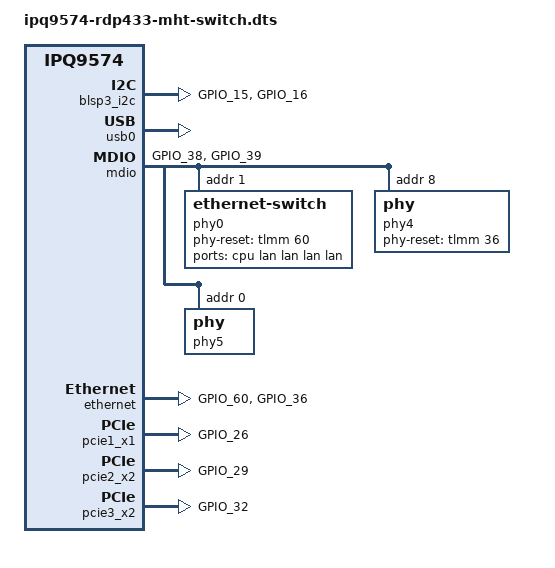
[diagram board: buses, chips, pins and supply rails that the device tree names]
// SPDX-License-Identifier: GPL-2.0-only
/*
* Copyright (c) 2023, Qualcomm Innovation Center, Inc. All rights reserved.
*/

/dts-v1/;

#include "ipq9574-default.dts"

/ {
	config_name = "config-al02-c10", "config@al02-c10", "config@rdp433-mht-switch", "config-rdp433-mht-switch";

	soc: soc {
		tlmm: pinctrl@1000000 {

			mdio_pinmux: mdio {
				mdc {
					pins = "GPIO_38";
					function = "mdc";
					drive-strength = <DRIVE_STRENGTH_8MA>;
					bias-disable;
				};

				mdio {
					pins = "GPIO_39";
					function = "mdio";
					drive-strength = <DRIVE_STRENGTH_8MA>;
					bias-pull-up;
				};
			};

			phy_rst_pinmux: phy_rst {
				qti_8x8x_rst {
					pins = "GPIO_60";
					drive-strength = <DRIVE_STRENGTH_8MA>;
					bias-pull-up;
				};

				qti_aquantia_rst {
					pins = "GPIO_36";
					drive-strength = <DRIVE_STRENGTH_8MA>;
					bias-pull-up;
				};
			};

			blsp3_i2c_pinmux: blsp3_i2c_pins {
				blsp3_scl {
					pins = "GPIO_15";
					function = "blsp3_i2c_scl";
					drive-strength = <DRIVE_STRENGTH_8MA>;
					bias-pull-up;
				};

				blsp3_sda {
					pins = "GPIO_16";
					function = "blsp3_i2c_sda";
					drive-strength = <DRIVE_STRENGTH_8MA>;
					bias-pull-up;
				};
			};

			pcie1_x1_pinmux: pci_pins {
				pci_rst {
					pins = "GPIO_26";
					drive-strength = <DRIVE_STRENGTH_8MA>;
					bias-pull-up;
				};
			};

			pcie2_x2_pinmux: pci_pins {
				pci_rst {
					pins = "GPIO_29";
					drive-strength = <DRIVE_STRENGTH_8MA>;
					bias-pull-up;
				};
			};

			pcie3_x2_pinmux: pci_pins {
				pci_rst {
					pins = "GPIO_32";
					drive-strength = <DRIVE_STRENGTH_8MA>;
					bias-pull-up;
				};
			};
		};

		blsp3_i2c: i2c@78B8000 {
			pinctrl-names = "default";
			pinctrl-0 = <&blsp3_i2c_pinmux>;
			status = "okay";
		};

		qmp_ssphy_0: ssphy@7D000 {
			status = "okay";
		};

		qusb2_phy_0: qusb2@7B000 {
			status = "okay";
		};

		usb0: usb@8af8800 {
			status = "okay";

			dwc3@8a00000 {
				phys = <&qusb2_phy_0>, <&qmp_ssphy_0>;
				phy-names = "usb2-phy", "usb3-phy";
				maximum-speed = "super-speed";
			};
		};

		mdio: mdio@90000 {
			pinctrl-names = "default";
			pinctrl-0 = <&mdio_pinmux>;
			status = "okay";

			phy0: ethernet-switch@1 {
				phy-reset-gpio = <&tlmm 60 0>;
				dev-mode = <0x1>;
				reg = <1>;
				phy_id = <QCA8x8x_SWITCH_TYPE>;
				id = <1>;
				uniphy_id = <0>;
				uniphy_type = <0>;
				max_speed = <2500>;
				force-speed;
				xgmac;
				ports {
					#address-cells = <1>;
					#size-cells = <0>;

					port0: port@0 {
						reg = <0>;
						label = "cpu";
						phy-mode = "sgmii-2500";
						fixed-link {
							speed = <2500>;
							full-duplex;
						};
					};

					port1: port@1 {
						reg = <1>;
						label = "lan";
					};

					port2: port@2 {
						reg = <2>;
						label = "lan";
					};

					port3: port@3 {
						reg = <3>;
						label = "lan";
					};

					port4: port@4 {
						reg = <4>;
						label = "lan";
					};
				};
			};

			phy4: phy@8 {
				phy-reset-gpio = <&tlmm 36 0>;
				reg = <8>;
				phy_id = <AQ_PHY_TYPE>;
				phy-mode = "usxgmii";
				id = <5>;
				uniphy_id = <1>;
				uniphy_type = <1>;
				xgmac;
			};

			phy5: phy@0 {
				reg = <0>;
				phy_id = <AQ_PHY_TYPE>;
				phy-mode = "usxgmii";
				id = <6>;
				uniphy_id = <2>;
				uniphy_type = <0>;
				xgmac;
			};
		};

		ethernet: nss-switch {
			pinctrl-names = "default";
			pinctrl-0 = <&phy_rst_pinmux>;
			phy-handle0 = <&phy0>;
			phy-handle4 = <&phy4>;
			phy-handle5 = <&phy5>;
			status = "okay";
		};

		pcie1_x1: pci@10000000 {
			pinctrl-names = "default";
			pinctrl-0 = <&pcie1_x1_pinmux>;
			status = "okay";
			perst_gpio = <&tlmm 26 0>;
		};

		pcie2_x2: pci@20000000 {
			pinctrl-names = "default";
			pinctrl-0 = <&pcie2_x2_pinmux>;
			status = "okay";
			perst_gpio = <&tlmm 29 0>;
		};

		pcie3_x2: pci@18000000 {
			pinctrl-names = "default";
			pinctrl-0 = <&pcie3_x2_pinmux>;
			status = "okay";
			perst_gpio = <&tlmm 32 0>;
		};
	};
};
